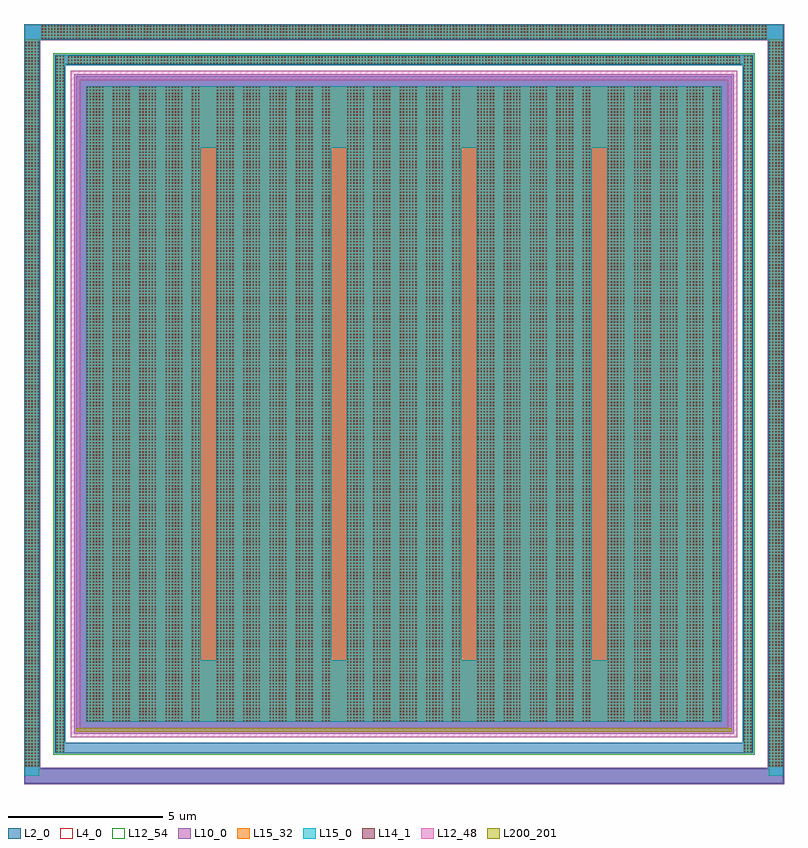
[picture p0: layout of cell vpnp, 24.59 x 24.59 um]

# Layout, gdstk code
import gdstk
lib = gdstk.Library(unit=1e-6, precision=1e-09)
def R(c, l, rs):  # rectangles x0, y0, x1, y1
    for r in rs: c.add(gdstk.rectangle(r[:2], r[2:], *l))
def A(c, l, x, y, w, h, nx, ny, dx, dy):  # array of equal rectangles
    R(c, l, [(x+i*dx, y+j*dy, x+i*dx+w, y+j*dy+h) for i in range(nx) for j in range(ny)])
L2_0 = (2, 0)
L4_0 = (4, 0)
L10_0 = (10, 0)
L12_48 = (12, 48)
L12_54 = (12, 54)
L14_1 = (14, 1)
L15_0 = (15, 0)
L15_32 = (15, 32)
L200_201 = (200, 201)

vpnp = lib.new_cell('vpnp')
R(vpnp, L2_0, [(-18.779,-10.809,5.773,-10.329), (-18.779,-10.329,-18.299,13.263), (5.293,-10.329,5.773,13.263), (-17.799,-9.829,4.793,-9.489), (-17.799,-9.489,-17.459,12.423), (4.453,-9.489,4.793,12.423), (-17.103,-9.133,4.097,12.067), (-17.799,12.423,4.793,12.763), (-18.779,13.263,5.773,13.743)])
R(vpnp, L4_0, [(-17.855,-9.885,4.849,12.819)])
R(vpnp, L10_0, [(-18.8,-10.83,5.794,-10.308), (-18.8,-10.308,-18.278,13.242), (5.272,-10.308,5.794,13.242), (-17.173,-9.203,4.167,12.137), (-18.8,13.242,5.794,13.764)])
R(vpnp, L12_48, [(-17.284,-9.314,4.278,-9.008), (-17.284,-9.008,-16.978,11.942), (3.972,-9.008,4.278,11.942), (-17.284,11.942,4.278,12.248)])
R(vpnp, L12_54, [(-17.855,-9.885,4.849,12.819)])
A(vpnp, L14_1, -18.759, -10.253, 0.04, 0.04, 5, 235, 0.1, 0.1)
A(vpnp, L14_1, 5.313, -10.253, 0.04, 0.04, 5, 235, 0.1, 0.1)
A(vpnp, L14_1, -17.749, -9.803, 0.04, 0.04, 3, 226, 0.1, 0.1)
A(vpnp, L14_1, 4.503, -9.803, 0.04, 0.04, 3, 226, 0.1, 0.1)
A(vpnp, L14_1, -16.773, -8.803, 0.04, 0.04, 6, 206, 0.1, 0.1)
A(vpnp, L14_1, -15.921, -8.803, 0.04, 0.04, 6, 206, 0.1, 0.1)
A(vpnp, L14_1, -15.069, -8.803, 0.04, 0.04, 6, 206, 0.1, 0.1)
A(vpnp, L14_1, -14.217, -8.803, 0.04, 0.04, 6, 206, 0.1, 0.1)
A(vpnp, L14_1, -13.365, -8.803, 0.04, 0.04, 3, 206, 0.1, 0.1)
A(vpnp, L14_1, -12.557, -8.803, 0.04, 0.04, 6, 206, 0.1, 0.1)
A(vpnp, L14_1, -11.705, -8.803, 0.04, 0.04, 6, 206, 0.1, 0.1)
A(vpnp, L14_1, -10.853, -8.803, 0.04, 0.04, 6, 206, 0.1, 0.1)
A(vpnp, L14_1, -10.001, -8.803, 0.04, 0.04, 6, 206, 0.1, 0.1)
A(vpnp, L14_1, -9.149, -8.803, 0.04, 0.04, 3, 206, 0.1, 0.1)
A(vpnp, L14_1, -8.342, -8.803, 0.04, 0.04, 6, 206, 0.1, 0.1)
A(vpnp, L14_1, -7.49, -8.803, 0.04, 0.04, 6, 206, 0.1, 0.1)
A(vpnp, L14_1, -6.638, -8.803, 0.04, 0.04, 6, 206, 0.1, 0.1)
A(vpnp, L14_1, -5.786, -8.803, 0.04, 0.04, 6, 206, 0.1, 0.1)
A(vpnp, L14_1, -4.934, -8.803, 0.04, 0.04, 3, 206, 0.1, 0.1)
A(vpnp, L14_1, -4.127, -8.803, 0.04, 0.04, 6, 206, 0.1, 0.1)
A(vpnp, L14_1, -3.275, -8.803, 0.04, 0.04, 6, 206, 0.1, 0.1)
A(vpnp, L14_1, -2.423, -8.803, 0.04, 0.04, 6, 206, 0.1, 0.1)
A(vpnp, L14_1, -1.571, -8.803, 0.04, 0.04, 6, 206, 0.1, 0.1)
A(vpnp, L14_1, -0.719, -8.803, 0.04, 0.04, 3, 206, 0.1, 0.1)
A(vpnp, L14_1, 0.088, -8.803, 0.04, 0.04, 6, 206, 0.1, 0.1)
A(vpnp, L14_1, 0.94, -8.803, 0.04, 0.04, 6, 206, 0.1, 0.1)
A(vpnp, L14_1, 1.792, -8.803, 0.04, 0.04, 6, 206, 0.1, 0.1)
A(vpnp, L14_1, 2.644, -8.803, 0.04, 0.04, 6, 206, 0.1, 0.1)
A(vpnp, L14_1, 3.496, -8.803, 0.04, 0.04, 3, 206, 0.1, 0.1)
A(vpnp, L14_1, -17.373, 12.473, 0.04, 0.04, 218, 3, 0.1, 0.1)
A(vpnp, L14_1, -18.223, 13.283, 0.04, 0.04, 235, 5, 0.1, 0.1)
A(vpnp, L15_0, -12.575, -6.821, 3.715, 16.576, 4, 1, 4.215, 0)
R(vpnp, L15_0, [(-18.777,-10.569,-18.301,13.741), (5.295,-10.569,5.771,13.741), (-17.767,-9.821,-17.491,12.755), (4.485,-9.821,4.761,12.755), (-16.791,-8.821,3.785,-6.821), (-16.791,-6.821,-13.076,9.755), (-16.791,9.755,3.785,11.755), (-17.491,12.455,4.485,12.755), (-18.301,13.265,5.295,13.741)])
R(vpnp, L15_32, [(-18.777,-10.271,-18.301,13.265), (5.295,-10.271,5.771,13.265), (-17.767,-9.821,-17.491,12.755), (4.485,-9.821,4.761,12.755), (-16.791,-8.821,3.785,11.755), (-17.391,12.455,4.385,12.731), (-18.241,13.265,5.235,13.741)])
R(vpnp, L200_201, [(-17.103,-9.133,4.097,-9.033)])

lib.write_gds('vpnp.gds')
